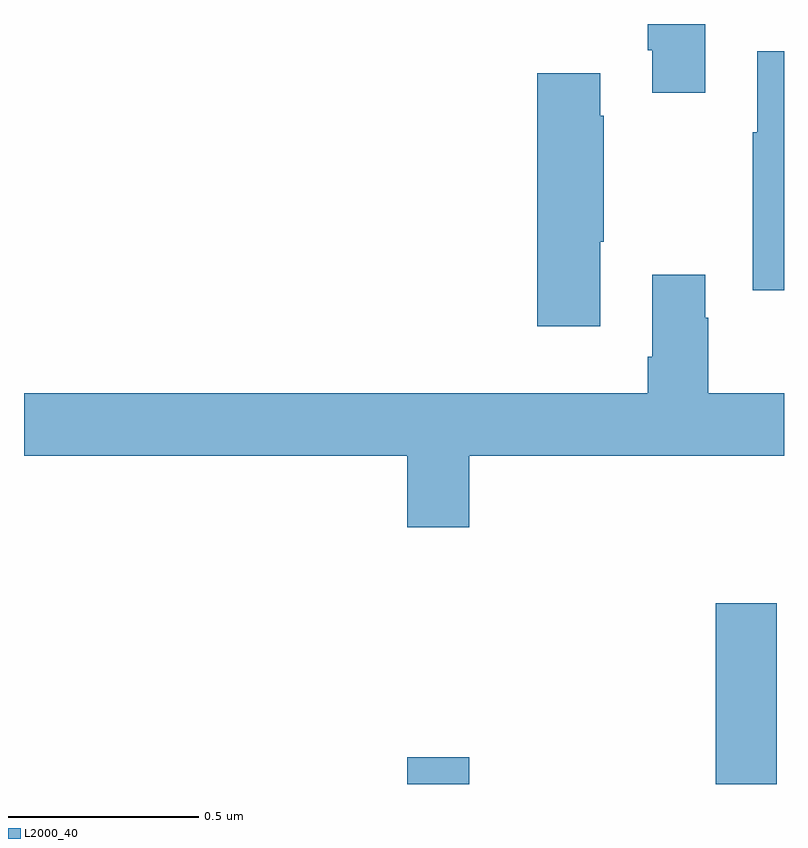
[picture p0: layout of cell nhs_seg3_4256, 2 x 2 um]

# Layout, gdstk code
import gdstk
lib = gdstk.Library(unit=1e-6, precision=1e-09)
def R(c, l, rs):  # rectangles x0, y0, x1, y1
    for r in rs: c.add(gdstk.rectangle(r[:2], r[2:], *l))
def P(c, l, *ps):  # polygons
    for p in ps: c.add(gdstk.Polygon(p, *l))
L2000_40 = (2000, 40)

nhs_seg3_4256 = lib.new_cell('nhs_seg3_4256')
R(nhs_seg3_4256, L2000_40, [(165.008,685.4,165.172,685.471), (165.821,685.4,165.981,685.876)])
P(nhs_seg3_4256, L2000_40, [(165.793,687.4),(165.641,687.4),(165.641,687.331),(165.653,687.331),(165.653,687.219),(165.793,687.219)],
  [(166,687.328),(165.929,687.328),(165.929,687.115),(165.918,687.115),(165.918,686.699),(166,686.699)],
  [(165.517,686.827),(165.525,686.827),(165.525,687.158),(165.517,687.158),(165.517,687.271),(165.35,687.271),(165.35,686.604),(165.517,686.604)],
  [(165.172,686.264),(166,686.264),(166,686.428),(165.801,686.428),(165.801,686.627),(165.793,686.627),(165.793,686.74),(165.653,686.74),(165.653,686.524),(165.641,686.524),(165.641,686.428),(164,686.428),(164,686.264),(165.008,686.264),(165.008,686.076),(165.172,686.076)])

lib.write_gds('nhs_seg3_4256.gds')
